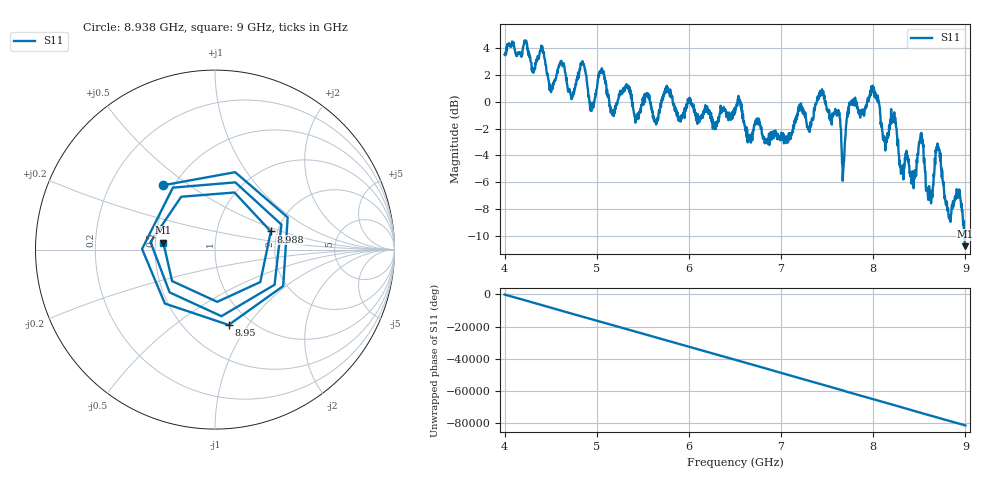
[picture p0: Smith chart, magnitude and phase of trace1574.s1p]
! Created with skrf 1.8.0 (http://scikit-rf.org).
# Hz S RI R 50.0
!freq ReS11 ImS11
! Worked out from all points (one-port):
!   1601 points, 4 GHz to 9 GHz, reference 50 ohm
!   lowest |S11| = -10.7 dB at 9 GHz (marker M1), VSWR 1.82, Z = 27.6 + j2.29 ohm
!   |S11| at or under -10 dB: 8.989921 GHz to end of sweep
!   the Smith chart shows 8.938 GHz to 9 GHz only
!   S11 on the Smith chart (normalised r, x): 8.938 GHz: 0.44, +0.40; 8.95 GHz: 0.79, -0.82; 8.988 GHz: 1.84, +0.42; 9 GHz: 0.55, +0.05
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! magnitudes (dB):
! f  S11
! 4 GHz  3.5
! 4.625 GHz  2.9
! 4.731 GHz  0.2
! 4.85 GHz  2.8
! 4.947 GHz  -0.7
! 5.05 GHz  2.2
! 5.162 GHz  -0.7
! 5.25 GHz  0.5
! 5.875 GHz  -0.9
! 6.5 GHz  -0.8
! 7.125 GHz  -2.2
! 7.447 GHz  0.7
! 7.678 GHz  -4.8
! 7.75 GHz  -0.1
! 8.003 GHz  1.1
! 8.122 GHz  -2.7
! 8.219 GHz  -1.4
! 8.303 GHz  -5.2
! 8.375 GHz  -4.3
! 8.441 GHz  -5.7
! 8.519 GHz  -2.5
! 8.619 GHz  -7.2
! 8.706 GHz  -3.4
! 8.812 GHz  -7.9
! 8.938 GHz  -6.7
! 8.95 GHz  -7.4
! 8.988 GHz  -9.7
! 9 GHz  -10.7
